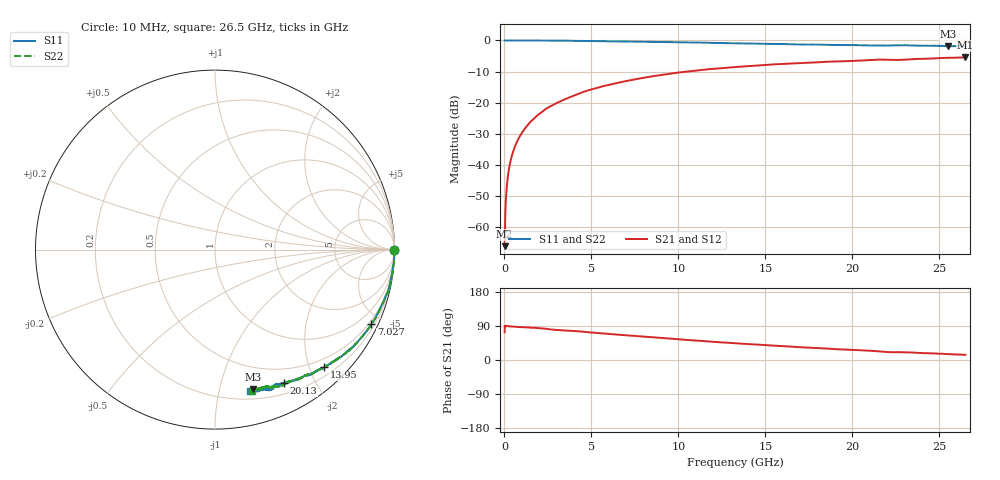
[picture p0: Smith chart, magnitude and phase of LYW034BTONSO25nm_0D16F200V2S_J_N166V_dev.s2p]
!Keysight Technologies,N5222B,MY61253708,A.15.00.15
!Date: Wednesday, June 19, 2024 10:21:23
!Correction: S11(C  2-Port  )
!S21(C  2-Port  )
!S12(C  2-Port  )
!S22(C  2-Port  )
!S2P File: Measurements: S11, S21, S12, S22:
# Hz S  RI  R 50
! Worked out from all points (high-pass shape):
!   2651 points, 10 MHz to 26.5 GHz, reference 50 ohm
!   highest |S21| = -5.43 dB at 26.5 GHz (marker M1); lowest = -66.2 dB at 10 MHz (marker M2)
!   |S21| within 3 dB of the highest: 13.57 GHz to end of sweep
!   lowest |S11| = -1.9 dB at 25.5 GHz (marker M3), VSWR 9.22, Z = 14.4 - j63.5 ohm
!   |S11| at or under -10 dB: nowhere
!   |S22| runs from -1.8 to 0.0 dB; largest |S21 - S12| = 0.0061
!   S11 on the Smith chart (normalised r, x): 10 MHz: open; 7.027 GHz: 0.36, -4.40; 13.95 GHz: 0.34, -2.25; 20.13 GHz: 0.32, -1.59; 26.5 GHz: 0.27, -1.24
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1e7  0.9987 -0.003  0.000142 0.000466  0.000154 5.77e-05  0.9986 -0.00199
7.997358e7  0.9999 -0.00562  1.06e-05 0.0026  1.39e-05 0.00261  0.9993 -0.00527
1.499472e8  1 -0.0106  4.2e-05 0.00491  3.9e-05 0.00494  0.9996 -0.0101
1.899321e8  1 -0.0125  8.55e-05 0.00624  9.52e-05 0.00625  0.9998 -0.0119
2.399132e8  0.9996 -0.0162  0.000133 0.00783  0.000124 0.00787  0.9993 -0.0155
3.398755e8  0.9995 -0.0227  0.000244 0.0111  0.000281 0.0111  0.9995 -0.0218
4.598302e8  0.9987 -0.0308  0.000421 0.015  0.00043 0.015  0.9987 -0.0301
6.197698e8  0.9989 -0.0406  0.000867 0.0202  0.000826 0.0203  0.9988 -0.0403
7.997019e8  0.9982 -0.0526  0.00135 0.026  0.00135 0.0261  0.9976 -0.0519
1.43946e9  0.991 -0.0954  0.00327 0.0469  0.0033 0.047  0.9933 -0.0924
2.319128e9  0.9824 -0.1489  0.00947 0.0763  0.00963 0.0764  0.9837 -0.1494
3.208792e9  0.9722 -0.2048  0.0205 0.1026  0.0206 0.1029  0.972 -0.204
4.428332e9  0.9442 -0.277  0.0373 0.1398  0.0375 0.1402  0.9459 -0.2743
7.027351e9  0.8717 -0.4149  0.094 0.2022  0.0947 0.2025  0.8736 -0.4142
8.846664e9  0.8085 -0.4974  0.1417 0.2347  0.1427 0.2349  0.8098 -0.4961
1.3255e10  0.6359 -0.6386  0.2672 0.2603  0.2689 0.2598  0.6387 -0.6377
1.395474e10  0.61 -0.6554  0.286 0.2585  0.2867 0.2586  0.6112 -0.6545
1.767333e10  0.4664 -0.7203  0.3729 0.2346  0.3758 0.2328  0.475 -0.7179
2.01324e10  0.3832 -0.7429  0.4216 0.2096  0.4248 0.2069  0.3959 -0.7448
2.209166e10  0.3317 -0.756  0.4564 0.1743  0.4578 0.1713  0.3236 -0.7616
2.550038e10  0.2121 -0.7759  0.5063 0.1387  0.5075 0.1382  0.231 -0.7776
2.65e10  0.1925 -0.7902  0.5201 0.1275  0.5192 0.1236  0.2044 -0.7878
